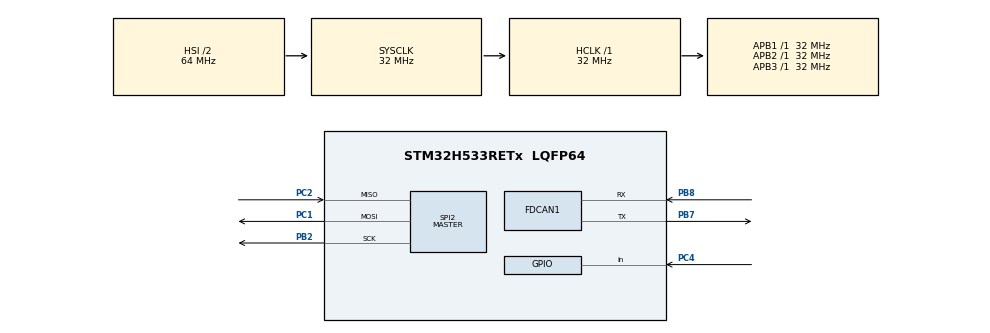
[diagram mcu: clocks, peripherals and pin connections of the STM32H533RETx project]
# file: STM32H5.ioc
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BOOTPATH.BootPathName=LEGACY
BOOTPATH.UserSelectedBootPath=LEGACY
CORTEX_M33_NS.userName=CORTEX_M33
FDCAN1.AutoRetransmission=ENABLE
FDCAN1.CalculateBaudRateNominal=501960
FDCAN1.CalculateTimeBitNominal=1992
FDCAN1.CalculateTimeQuantumNominal=117.1875
FDCAN1.DataPrescaler=2
FDCAN1.DataSyncJumpWidth=12
FDCAN1.DataTimeSeg1=12
FDCAN1.DataTimeSeg2=12
FDCAN1.FrameFormat=FDCAN_FRAME_CLASSIC
FDCAN1.Mode=FDCAN_MODE_NORMAL
FDCAN1.NominalPrescaler=5
FDCAN1.NominalSyncJumpWidth=2
FDCAN1.NominalTimeSeg1=14
FDCAN1.NominalTimeSeg2=2
FDCAN1.StdFiltersNbr=0
Mcu.Family=STM32H5
Mcu.Name=STM32H533RETx
Mcu.Package=LQFP64
NUCLEO-H533RE.BUTTON=0
NUCLEO-H533RE.LD4=true
NUCLEO-H533RE.VCP=false
NVIC.PriorityGroup=NVIC_PRIORITYGROUP_4
NVIC.SPI2_IRQn=true\:0\:0\:false\:false\:true\:true\:true\:true
PA13(JTMS/SWDIO).GPIO_Label=SWDIO
PA13(JTMS/SWDIO).Signal=DEBUG_JTMS-SWDIO
PA14(JTCK/SWCLK).GPIO_Label=SWCLK
PA14(JTCK/SWCLK).Signal=DEBUG_JTCK-SWCLK
PA15(JTDI).GPIO_Label=JTDI
PA15(JTDI).Signal=DEBUG_JTDI
PB2.Mode=Full_Duplex_Master
PB2.Signal=SPI2_SCK
PB3(JTDO/TRACESWO).GPIO_Label=SWO
PB3(JTDO/TRACESWO).Signal=DEBUG_JTDO-SWO
PB7.Mode=FDCAN_Activate
PB7.Signal=FDCAN1_TX
PB8.Mode=FDCAN_Activate
PB8.Signal=FDCAN1_RX
PC1.Mode=Full_Duplex_Master
PC1.Signal=SPI2_MOSI
PC2.Mode=Full_Duplex_Master
PC2.Signal=SPI2_MISO
PC4.Signal=GPIO_Input
ProjectManager.HeapSize=0x200
ProjectManager.StackSize=0x400
ProjectManager.TargetToolchain=STM32CubeIDE
RCC.ADCFreq_Value=32000000
RCC.AHBFreq_Value=32000000
RCC.APB1Freq_Value=32000000
RCC.APB1TimFreq_Value=32000000
RCC.APB2Freq_Value=32000000
RCC.APB2TimFreq_Value=32000000
RCC.APB3Freq_Value=32000000
RCC.CSI_VALUE=4000000
RCC.CortexFreq_Value=32000000
RCC.EPOD_VALUE=4000000
RCC.FDCANClockSelection=RCC_FDCANCLKSOURCE_PLL1Q
RCC.HCLKFreq_Value=32000000
RCC.HSE_VALUE=25000000
RCC.HSI48_VALUE=48000000
RCC.HSI_VALUE=64000000
RCC.LSE_VALUE=32768
RCC.LSIRC_VALUE=32000
RCC.PLL1Q=3
RCC.PLLFRACN=0
RCC.PLLN=32
RCC.SYSCLKFreq_VALUE=32000000
RCC.USBFreq_Value=48000000
RCC.VCOOutputFreq_Value=128000000
SPI2.CalculateBaudRate=21.333332 MBits/s
SPI2.DataSize=SPI_DATASIZE_8BIT
SPI2.Direction=SPI_DIRECTION_2LINES
SPI2.Mode=SPI_MODE_MASTER
SPI2.VirtualType=VM_MASTER
VP_BOOTPATH_VS_BOOTPATH.Mode=BP_Activate
VP_CORTEX_M33_NS_VS_Hclk.Mode=Hclk_Mode
VP_MEMORYMAP_VS_MEMORYMAP.Mode=CurAppReg
VP_NUCLEO-H533RE_VS_BSP_COMMON.Mode=COMMON
VP_PWR_VS_LPOM.Mode=PowerOptimisation
VP_PWR_VS_SECSignals.Mode=Security/Privilege
board=NUCLEO-H533RE

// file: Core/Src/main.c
/* USER CODE BEGIN Header */
/**
  ******************************************************************************
  * @file           : main.c for STM32H5
  * @brief          : Main program body
  ******************************************************************************
  * @attention
  *
  * Copyright (c) 2025 STMicroelectronics.
  * All rights reserved.
  *
  * This software is licensed under terms that can be found in the LICENSE file
  * in the root directory of this software component.
  * If no LICENSE file comes with this software, it is provided AS-IS.
  *
  ******************************************************************************
  */
/* USER CODE END Header */
#include "main.h"

FDCAN_HandleTypeDef hfdcan1;

SPI_HandleTypeDef hspi2;

/* USER CODE BEGIN PV */

FDCAN_FilterTypeDef sFilterConfig;
FDCAN_TxHeaderTypeDef TxHeader;
FDCAN_RxHeaderTypeDef RxHeader;
uint8_t TxData[8] = {0xAA, 0x00, 0xBB, 0x00, 0xCC, 0x00, 0xEE, 0x00};
uint8_t TxData2[8] = {0, 0, 0, 0, 0, 0 ,0 ,0};
uint8_t RxData[8];

/* USER CODE END PV */

void SystemClock_Config(void);
static void MX_GPIO_Init(void);
static void MX_FDCAN1_Init(void);
static void MX_SPI2_Init(void);

int main(void)
{

  /* MCU Configuration--------------------------------------------------------*/

  /* Reset of all peripherals, Initializes the Flash interface and the Systick. */
  HAL_Init();

  /* Configure the system clock */
  SystemClock_Config();

  /* Initialize all configured peripherals */
  MX_GPIO_Init();
  MX_FDCAN1_Init();
  MX_SPI2_Init();
  /* USER CODE BEGIN 2 */
  /* Configure Tx buffer message */
  TxHeader.Identifier = 0;
  TxHeader.IdType = FDCAN_STANDARD_ID;
  TxHeader.TxFrameType = FDCAN_DATA_FRAME;
  TxHeader.DataLength = FDCAN_DLC_BYTES_8;
  TxHeader.ErrorStateIndicator = FDCAN_ESI_ACTIVE;
  TxHeader.BitRateSwitch = FDCAN_BRS_OFF;
  TxHeader.FDFormat = FDCAN_CLASSIC_CAN;
  TxHeader.TxEventFifoControl = FDCAN_NO_TX_EVENTS;
  TxHeader.MessageMarker = 0x00; // Ignore because FDCAN_NO_TX_EVENTS

  // accept everything into FIFO0
  HAL_StatusTypeDef st;
  st = HAL_FDCAN_ConfigGlobalFilter(&hfdcan1,
        FDCAN_ACCEPT_IN_RX_FIFO0,   // non-matching STD
        FDCAN_ACCEPT_IN_RX_FIFO0,   // non-matching EXT
        FDCAN_FILTER_REMOTE,
        FDCAN_FILTER_REMOTE);
  if (st != HAL_OK) Error_Handler();

  // Wait for a message to land in Rx FIFO0, then read it
  //while (HAL_FDCAN_GetRxFifoFillLevel(&hfdcan1, FDCAN_RX_FIFO0) == 0) { /* spin */ }

  // grab message from Rx FIFO
//  HAL_FDCAN_GetRxMessage(&hfdcan1, FDCAN_RX_FIFO0, &RxHeader, RxData);
//  HAL_StatusTypeDef st = HAL_FDCAN_AddMessageToTxFifoQ(&hfdcan1, &TxHeader, TxData);
//  if (st != HAL_OK) Error_Handler();
  /* USER CODE END 2 */

  /* Initialize leds */
  BSP_LED_Init(LED_GREEN);

  /* Infinite loop */
  /* USER CODE BEGIN WHILE */
  HAL_FDCAN_Start(&hfdcan1);
  while (1)
  {
	 for (int i = 0; i < 8 ; i++) {
		 TxData2[(i+1)%8] = 0xff;
		 TxData2[i] = 0;
	 }
	 HAL_StatusTypeDef st = HAL_FDCAN_AddMessageToTxFifoQ(&hfdcan1, &TxHeader, TxData2);
	 if (st != HAL_OK) Error_Handler();
	 HAL_Delay(1000);
//	 while (HAL_FDCAN_GetRxFifoFillLevel(&hfdcan1, FDCAN_RX_FIFO0) == 0) { /* spin */ }
//	 HAL_FDCAN_GetRxMessage(&hfdcan1, FDCAN_RX_FIFO0, &RxHeader, RxData);
//	 HAL_Delay(1000);
	 // break;
    /* USER CODE END WHILE */

    /* USER CODE BEGIN 3 */
  }
  HAL_FDCAN_Stop(&hfdcan1);
  /* USER CODE END 3 */
}

void SystemClock_Config(void)
{
  RCC_OscInitTypeDef RCC_OscInitStruct = {0};
  RCC_ClkInitTypeDef RCC_ClkInitStruct = {0};

  /** Configure the main internal regulator output voltage
  */
  __HAL_PWR_VOLTAGESCALING_CONFIG(PWR_REGULATOR_VOLTAGE_SCALE3);

  while(!__HAL_PWR_GET_FLAG(PWR_FLAG_VOSRDY)) {}

  /** Initializes the RCC Oscillators according to the specified parameters
  * in the RCC_OscInitTypeDef structure.
  */
  RCC_OscInitStruct.OscillatorType = RCC_OSCILLATORTYPE_HSI|RCC_OSCILLATORTYPE_CSI;
  RCC_OscInitStruct.HSIState = RCC_HSI_ON;
  RCC_OscInitStruct.HSIDiv = RCC_HSI_DIV2;
  RCC_OscInitStruct.HSICalibrationValue = RCC_HSICALIBRATION_DEFAULT;
  RCC_OscInitStruct.CSIState = RCC_CSI_ON;
  RCC_OscInitStruct.CSICalibrationValue = RCC_CSICALIBRATION_DEFAULT;
  RCC_OscInitStruct.PLL.PLLState = RCC_PLL_ON;
  RCC_OscInitStruct.PLL.PLLSource = RCC_PLL1_SOURCE_CSI;
  RCC_OscInitStruct.PLL.PLLM = 1;
  RCC_OscInitStruct.PLL.PLLN = 32;
  RCC_OscInitStruct.PLL.PLLP = 2;
  RCC_OscInitStruct.PLL.PLLQ = 3;
  RCC_OscInitStruct.PLL.PLLR = 2;
  RCC_OscInitStruct.PLL.PLLRGE = RCC_PLL1_VCIRANGE_2;
  RCC_OscInitStruct.PLL.PLLVCOSEL = RCC_PLL1_VCORANGE_WIDE;
  RCC_OscInitStruct.PLL.PLLFRACN = 0;
  if (HAL_RCC_OscConfig(&RCC_OscInitStruct) != HAL_OK)
  {
    Error_Handler();
  }

  /** Initializes the CPU, AHB and APB buses clocks
  */
  RCC_ClkInitStruct.ClockType = RCC_CLOCKTYPE_HCLK|RCC_CLOCKTYPE_SYSCLK
                              |RCC_CLOCKTYPE_PCLK1|RCC_CLOCKTYPE_PCLK2
                              |RCC_CLOCKTYPE_PCLK3;
  RCC_ClkInitStruct.SYSCLKSource = RCC_SYSCLKSOURCE_HSI;
  RCC_ClkInitStruct.AHBCLKDivider = RCC_SYSCLK_DIV1;
  RCC_ClkInitStruct.APB1CLKDivider = RCC_HCLK_DIV1;
  RCC_ClkInitStruct.APB2CLKDivider = RCC_HCLK_DIV1;
  RCC_ClkInitStruct.APB3CLKDivider = RCC_HCLK_DIV1;

  if (HAL_RCC_ClockConfig(&RCC_ClkInitStruct, FLASH_LATENCY_1) != HAL_OK)
  {
    Error_Handler();
  }

  /** Configure the programming delay
  */
  __HAL_FLASH_SET_PROGRAM_DELAY(FLASH_PROGRAMMING_DELAY_0);
}

static void MX_FDCAN1_Init(void)
{

  hfdcan1.Instance = FDCAN1;
  hfdcan1.Init.ClockDivider = FDCAN_CLOCK_DIV1;
  hfdcan1.Init.FrameFormat = FDCAN_FRAME_CLASSIC;
  hfdcan1.Init.Mode = FDCAN_MODE_NORMAL;
  hfdcan1.Init.AutoRetransmission = ENABLE;
  hfdcan1.Init.TransmitPause = DISABLE;
  hfdcan1.Init.ProtocolException = DISABLE;
  hfdcan1.Init.NominalPrescaler = 5;
  hfdcan1.Init.NominalSyncJumpWidth = 2;
  hfdcan1.Init.NominalTimeSeg1 = 14;
  hfdcan1.Init.NominalTimeSeg2 = 2;
  hfdcan1.Init.DataPrescaler = 2;
  hfdcan1.Init.DataSyncJumpWidth = 12;
  hfdcan1.Init.DataTimeSeg1 = 12;
  hfdcan1.Init.DataTimeSeg2 = 12;
  hfdcan1.Init.StdFiltersNbr = 0;
  hfdcan1.Init.ExtFiltersNbr = 0;
  hfdcan1.Init.TxFifoQueueMode = FDCAN_TX_FIFO_OPERATION;
  if (HAL_FDCAN_Init(&hfdcan1) != HAL_OK)
  {
    Error_Handler();
  }

}

static void MX_SPI2_Init(void)
{

  /* SPI2 parameter configuration*/
  hspi2.Instance = SPI2;
  hspi2.Init.Mode = SPI_MODE_MASTER;
  hspi2.Init.Direction = SPI_DIRECTION_2LINES;
  hspi2.Init.DataSize = SPI_DATASIZE_8BIT;
  hspi2.Init.CLKPolarity = SPI_POLARITY_LOW;
  hspi2.Init.CLKPhase = SPI_PHASE_1EDGE;
  hspi2.Init.NSS = SPI_NSS_SOFT;
  hspi2.Init.BaudRatePrescaler = SPI_BAUDRATEPRESCALER_2;
  hspi2.Init.FirstBit = SPI_FIRSTBIT_MSB;
  hspi2.Init.TIMode = SPI_TIMODE_DISABLE;
  hspi2.Init.CRCCalculation = SPI_CRCCALCULATION_DISABLE;
  hspi2.Init.CRCPolynomial = 0x7;
  hspi2.Init.NSSPMode = SPI_NSS_PULSE_ENABLE;
  hspi2.Init.NSSPolarity = SPI_NSS_POLARITY_LOW;
  hspi2.Init.FifoThreshold = SPI_FIFO_THRESHOLD_01DATA;
  hspi2.Init.MasterSSIdleness = SPI_MASTER_SS_IDLENESS_00CYCLE;
  hspi2.Init.MasterInterDataIdleness = SPI_MASTER_INTERDATA_IDLENESS_00CYCLE;
  hspi2.Init.MasterReceiverAutoSusp = SPI_MASTER_RX_AUTOSUSP_DISABLE;
  hspi2.Init.MasterKeepIOState = SPI_MASTER_KEEP_IO_STATE_DISABLE;
  hspi2.Init.IOSwap = SPI_IO_SWAP_DISABLE;
  hspi2.Init.ReadyMasterManagement = SPI_RDY_MASTER_MANAGEMENT_INTERNALLY;
  hspi2.Init.ReadyPolarity = SPI_RDY_POLARITY_HIGH;
  if (HAL_SPI_Init(&hspi2) != HAL_OK)
  {
    Error_Handler();
  }

}

static void MX_GPIO_Init(void)
{
  GPIO_InitTypeDef GPIO_InitStruct = {0};

  /* GPIO Ports Clock Enable */
  __HAL_RCC_GPIOC_CLK_ENABLE();
  __HAL_RCC_GPIOB_CLK_ENABLE();
  __HAL_RCC_GPIOA_CLK_ENABLE();

  /*Configure GPIO pin : PC4 */
  GPIO_InitStruct.Pin = GPIO_PIN_4;
  GPIO_InitStruct.Mode = GPIO_MODE_INPUT;
  GPIO_InitStruct.Pull = GPIO_NOPULL;
  HAL_GPIO_Init(GPIOC, &GPIO_InitStruct);

}

void Error_Handler(void)
{
  __disable_irq();
  while (1)
  {
  }
}
